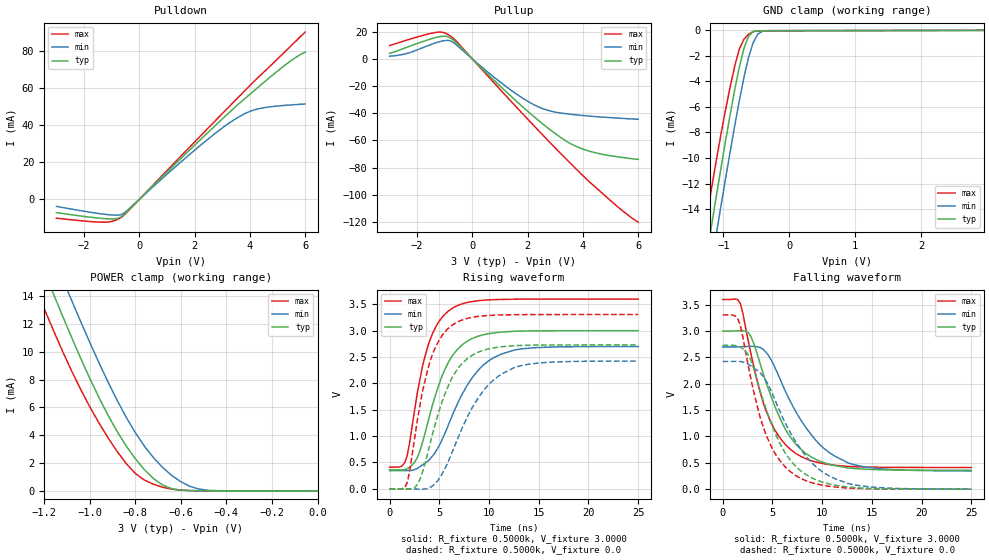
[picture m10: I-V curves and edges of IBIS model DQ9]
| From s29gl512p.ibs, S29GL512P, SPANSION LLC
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|   Model DQ9
[Model]  DQ9
Model_type I/O
Vinl =   0.9000V
Vinh =   2.1000V
Vmeas =  1.5000V
Cref =   30.0000pF
C_comp   2.0000pF   2.0000pF   2.0000pF
[Temperature Range]   25.0000   85.0000   -40.0000
[Pullup Reference]   3.0000V   2.7000V   3.6000V
[Pulldown Reference]   0.0V   0.0V   0.0V
[POWER Clamp Reference]   3.0000V   2.7000V   3.6000V
[GND Clamp Reference]   0.0V   0.0V   0.0V
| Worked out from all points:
|   slope of the pulldown table from 0 to 0.45 V, typ, clamps not added: 67.8 ohm
|   slope of the pullup table from 0 to 0.45 V, typ, clamps not added: 49.6 ohm
|   GND clamp passes 1 mA (typ) near -0.66 V on its own axis
|   POWER clamp passes 1 mA (typ) near -0.73 V on its own axis
|   rising waveform, R_fixture 0.5000k, V_fixture 3.0000: 20-80 % time 2.82ns typ, 3.84ns min, 2.21ns max; typ from 0.359 V to 3 V
|   rising waveform, R_fixture 0.5000k, V_fixture 0.0: 20-80 % time 2.87ns typ, 3.96ns min, 2.24ns max; typ from 0.001 V to 2.73 V
|   falling waveform, R_fixture 0.5000k, V_fixture 3.0000: 20-80 % time 3.59ns typ, 4.49ns min, 3.08ns max; typ from 3 V to 0.358 V
|   falling waveform, R_fixture 0.5000k, V_fixture 0.0: 20-80 % time 3.53ns typ, 4.36ns min, 3.06ns max; typ from 2.73 V to 0 V
[Pulldown]
|Voltage   I(typ)   I(min)   I(max)
-3V       -7.16mA    -3.81mA    -10.16mA
-1.2V     -10.46mA   -8.17mA    -12.3mA
-800mV    -10.32mA   -8.529mA   -10.9mA
-600mV    -8.752mA   -7.862mA   -9.129mA
2V        29.13mA    26.45mA    30.86mA
2.9V      41.85mA    37.28mA    44.6mA
3.5V      50.12mA    43.48mA    53.7mA
4V        56.52mA    47.35mA    61.23mA
4.4V      61.63mA    49.05mA    67.07mA
5.3V      72.6mA     50.68mA    79.92mA
5.8V      77.73mA    51.2mA     87.19mA
6V        79.26mA    51.4mA     90.09mA
[Pullup]
|Voltage   I(typ)   I(min)   I(max)
-3V       4.17mA     2.07mA     9.92mA
-2.3V     9.2mA      4.53mA     14.4mA
-1.3V     15.98mA    12.1mA     19.67mA
-1V       16.84mA    13.64mA    19.23mA
-800mV    15.58mA    13.4mA     17.02mA
1.2V      -23.73mA   -20.04mA   -26.84mA
1.8V      -34.92mA   -28.63mA   -40mA
2.4V      -45.45mA   -35.41mA   -52.93mA
3.3V      -59.28mA   -40.12mA   -71.83mA
3.9V      -65.62mA   -41.49mA   -84.01mA
5.3V      -72.26mA   -43.64mA   -109.7mA
6V        -74.02mA   -44.42mA   -120.3mA
[GND_clamp]
|Voltage   I(typ)   I(min)   I(max)
-3V       -75.78mA   -77.82mA   -73.12mA
-1.32V    -19.78mA   -22.67mA   -16.76mA
-1.25V    -17.51mA   -20.43mA   -14.54mA
-1.18V    -15.27mA   -18.21mA   -12.35mA
-1.11V    -13.05mA   -16.01mA   -10.23mA
-1.04V    -10.86mA   -13.82mA   -8.196mA
-830mV    -4.675mA   -7.498mA   -2.814mA
-690mV    -1.422mA   -3.701mA   -694.9uA
-550mV    -95.97uA   -969.3uA   -93.26uA
-480mV    -32.5uA    -297.2uA   -34.91uA
-340mV    -18.5uA    -22.15uA   -21.13uA
2.95V     9.466uA    11.01uA    6.466uA
[POWER_clamp]
|Voltage   I(typ)   I(min)   I(max)
-3V       95.64mA    96.77mA    93.68mA
-1.24V    17.47mA    20.13mA    14.73mA
-1.2V     15.83mA    18.5mA     13.13mA
-1.16V    14.21mA    16.89mA    11.58mA
-1.08V    11.07mA    13.73mA    8.662mA
-960mV    6.747mA    9.249mA    4.918mA
-840mV    3.252mA    5.316mA    1.985mA
-720mV    900.2uA    2.399mA    486.6uA
-640mV    170uA      1.126mA    139uA
-560mV    29.4uA     337.8uA    32.8uA
-480mV    15.26uA    54.7uA     17.13uA
0V        9.881uA    8.893uA    11.86uA
[Ramp]
| variable   typ   min   max
dV/dt_r  1.6375/2.8462n   1.4533/3.9191n   1.9836/2.2098n
dV/dt_f  1.5845/3.5577n   1.4116/4.4472n   1.9127/3.0448n
R_load = 0.5000k
[Rising Waveform]
R_fixture= 0.5000k
V_fixture= 3.0000
V_fixture_min= 2.7000
V_fixture_max= 3.6000
|time   V(typ)   V(min)   V(max)
0s        358.9mV    346mV      412mV
1.52ns    366.4mV    345.6mV    495.1mV
2.02ns    409.7mV    346.5mV    877.4mV
2.78ns    591.9mV    387.3mV    1.808V
3.54ns    1.036V     483.4mV    2.498V
4.29ns    1.576V     618mV      2.933V
6.06ns    2.449V     1.28V      3.394V
8.33ns    2.853V     2.113V     3.554V
11.11ns   2.971V     2.545V     3.592V
25ns      3V         2.699V     3.6V
[Rising Waveform]
R_fixture= 0.5000k
V_fixture= 0.0
V_fixture_min= 0.0
V_fixture_max= 0.0
|time   V(typ)   V(min)   V(max)
0s        891uV      857.5uV    1.024mV
1.77ns    -4.799mV   118.8uV    116.5mV
2.78ns    84.25mV    -4.709mV   1.291V
3.28ns    301.7mV    -6.091mV   1.823V
4.29ns    1.022V     50.22mV    2.541V
6.31ns    2.116V     703.6mV    3.108V
7.83ns    2.472V     1.368V     3.234V
9.34ns    2.623V     1.839V     3.28V
12.37ns   2.713V     2.285V     3.304V
25ns      2.73V      2.423V     3.307V
[Falling Waveform]
R_fixture= 0.5000k
V_fixture= 3.0000
V_fixture_min= 2.7000
V_fixture_max= 3.6000
|time   V(typ)   V(min)   V(max)
0s        2.999V     2.699V     3.599V
1.77ns    3.007V     2.702V     3.522V
2.78ns    2.916V     2.711V     2.619V
3.79ns    2.367V     2.685V     1.824V
4.8ns     1.794V     2.475V     1.289V
6.06ns    1.227V     1.959V     900.6mV
7.32ns    860.8mV    1.481V     680.9mV
9.85ns    525mV      831.9mV    494.2mV
12.63ns   402.2mV    496.5mV    431.4mV
25ns      358.2mV    346.3mV    411.2mV
[Falling Waveform]
R_fixture= 0.5000k
V_fixture= 0.0
V_fixture_min= 0.0
V_fixture_max= 0.0
|time   V(typ)   V(min)   V(max)
0s        2.729V     2.423V     3.306V
1.52ns    2.715V     2.423V     3.228V
2.53ns    2.562V     2.376V     2.377V
3.54ns    2.018V     2.243V     1.525V
4.55ns    1.423V     1.994V     948.4mV
5.81ns    846mV      1.451V     527.5mV
7.32ns    436.9mV    907.5mV    260.7mV
9.6ns     161.8mV    390.7mV    91.66mV
12.63ns   38.71mV    105.6mV    20.36mV
25ns      178.5uV    713.3uV    72.17uV
